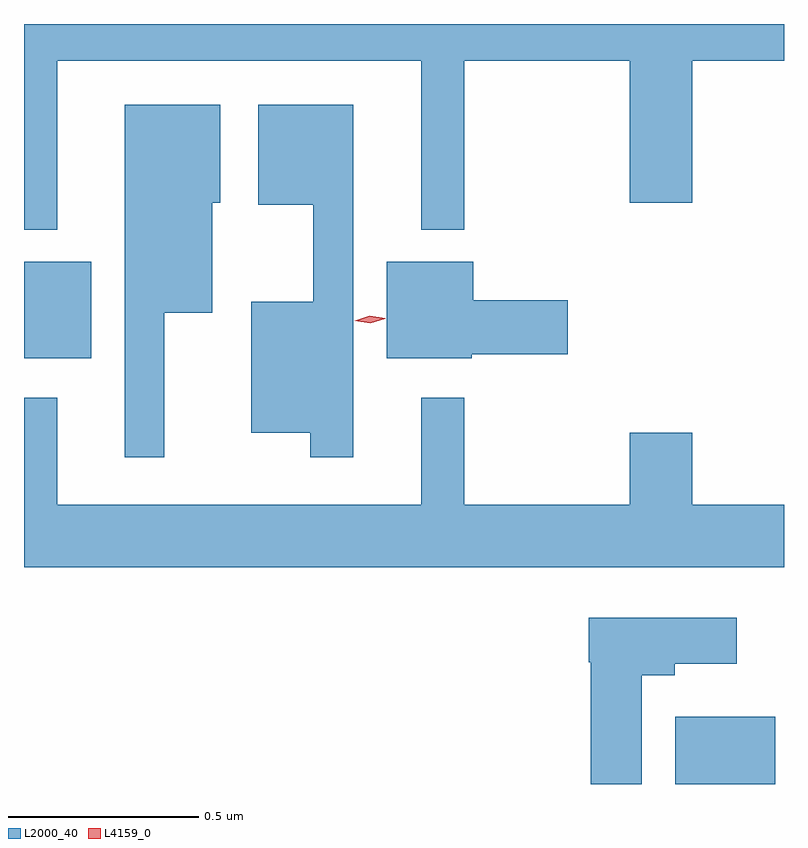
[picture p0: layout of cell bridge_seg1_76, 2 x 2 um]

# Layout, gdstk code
import gdstk
lib = gdstk.Library(unit=1e-6, precision=1e-09)
def R(c, l, rs):  # rectangles x0, y0, x1, y1
    for r in rs: c.add(gdstk.rectangle(r[:2], r[2:], *l))
def P(c, l, *ps):  # polygons
    for p in ps: c.add(gdstk.Polygon(p, *l))
L2000_40 = (2000, 40)
L4159_0 = (4159, 0)

bridge_seg1_76 = lib.new_cell('bridge_seg1_76')
R(bridge_seg1_76, L2000_40, [(536.756,531.181,537.019,531.358), (535.042,532.301,535.219,532.555)])
P(bridge_seg1_76, L2000_40, [(535.129,533.084),(536.087,533.084),(536.087,532.64),(536.201,532.64),(536.201,533.084),(536.636,533.084),(536.636,532.71),(536.8,532.71),(536.8,533.084),(537.042,533.084),(537.042,533.181),(535.042,533.181),(535.042,532.64),(535.129,532.64)],
  [(535.909,532.969),(535.658,532.969),(535.658,532.706),(535.803,532.706),(535.803,532.45),(535.64,532.45),(535.64,532.106),(535.795,532.106),(535.795,532.041),(535.909,532.041)],
  [(535.411,532.421),(535.537,532.421),(535.537,532.71),(535.558,532.71),(535.558,532.969),(535.307,532.969),(535.307,532.041),(535.411,532.041)],
  [(536.22,532.312),(536.473,532.312),(536.473,532.454),(536.224,532.454),(536.224,532.555),(535.997,532.555),(535.997,532.301),(536.22,532.301)],
  [(537.042,531.916),(536.8,531.916),(536.8,532.105),(536.636,532.105),(536.636,531.916),(536.201,531.916),(536.201,532.198),(536.087,532.198),(536.087,531.916),(535.129,531.916),(535.129,532.198),(535.042,532.198),(535.042,531.752),(537.042,531.752)],
  [(536.668,531.467),(536.755,531.467),(536.755,531.497),(536.917,531.497),(536.917,531.619),(536.528,531.619),(536.528,531.501),(536.534,531.501),(536.534,531.181),(536.668,531.181)])
P(bridge_seg1_76, L4159_0, [(535.953,532.393),(535.913,532.4),(535.913,532.4),(535.913,532.4),(535.952,532.413),(535.992,532.407),(535.992,532.406),(535.992,532.406)])

lib.write_gds('bridge_seg1_76.gds')
